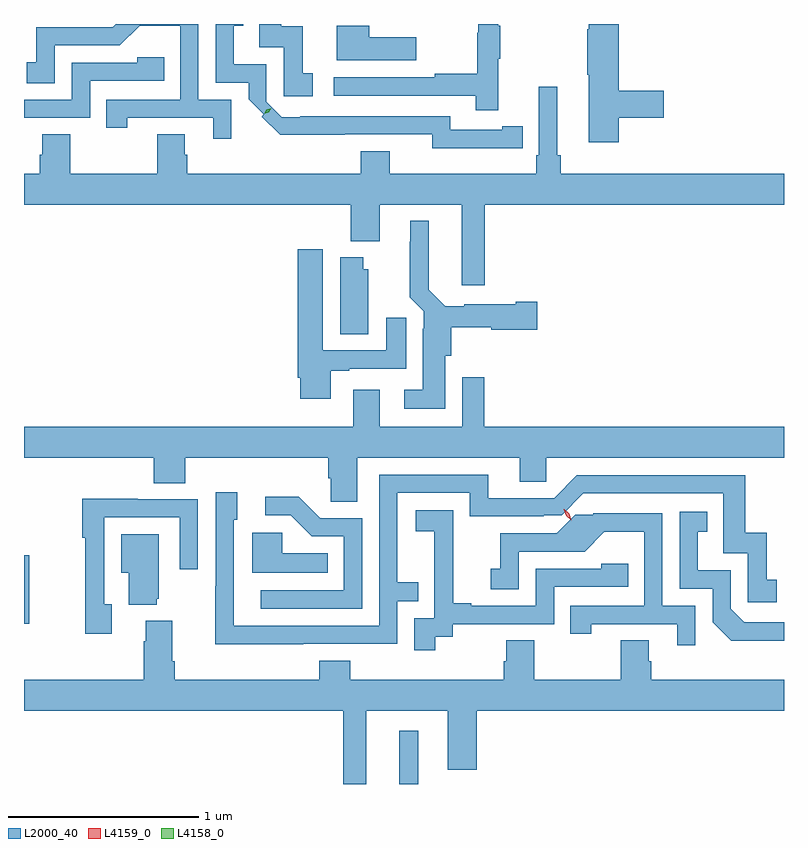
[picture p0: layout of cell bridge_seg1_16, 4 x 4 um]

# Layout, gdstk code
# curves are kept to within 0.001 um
import gdstk
lib = gdstk.Library(unit=1e-6, precision=1e-09)
def R(c, l, rs):  # rectangles x0, y0, x1, y1
    for r in rs: c.add(gdstk.rectangle(r[:2], r[2:], *l))
def P(c, l, *ps):  # polygons
    for p in ps: c.add(gdstk.Polygon(p, *l))
L2000_40 = (2000, 40)
L4158_0 = (4158, 0)
L4159_0 = (4159, 0)

bridge_seg1_16 = lib.new_cell('bridge_seg1_16')
R(bridge_seg1_16, L2000_40, [(880.292,511.387,880.39,511.666), (878.316,512.23,878.344,512.59)])
P(bridge_seg1_16, L2000_40, [(880.811,515.203),(880.822,515.203),(880.822,515.377),(880.811,515.377),(880.811,515.387),(880.708,515.387),(880.708,515.34),(880.701,515.34),(880.701,515.126),(880.477,515.126),(880.477,515.106),(879.945,515.106),(879.945,515.01),(880.693,515.01),(880.693,514.932),(880.811,514.932)],
  [(879.408,514.989),(879.234,514.989),(879.234,515.387),(878.8,515.387),(878.783,515.37),(878.38,515.37),(878.38,515.185),(878.331,515.185),(878.331,515.076),(878.478,515.076),(878.478,515.274),(878.82,515.274),(878.924,515.378),(879.138,515.378),(879.138,514.989),(878.749,514.989),(878.749,514.842),(878.86,514.842),(878.86,514.893),(879.311,514.893),(879.311,514.782),(879.408,514.782)],
  [(880.832,514.734),(880.94,514.734),(880.94,514.85),(880.832,514.85),(880.832,514.83),(880.56,514.83),(880.56,514.902),(879.769,514.902),(879.769,514.896),(879.672,514.896),(879.591,514.977),(879.591,515.175),(879.421,515.175),(879.421,515.379),(879.47,515.379),(879.47,515.387),(879.324,515.387),(879.324,515.079),(879.498,515.079),(879.498,514.991),(879.579,514.911),(879.568,514.9),(879.664,514.805),(880.464,514.806),(880.464,514.733)],
  [(881.447,514.894),(881.683,514.894),(881.683,515.036),(881.447,515.036),(881.447,515.387),(881.288,515.387),(881.288,515.36),(881.281,515.36),(881.281,515.119),(881.288,515.119),(881.288,514.764),(881.447,514.764)],
  [(879.835,515.127),(879.782,515.127),(879.782,515.374),(879.671,515.374),(879.671,515.387),(879.555,515.387),(879.555,515.265),(879.684,515.265),(879.684,515.007),(879.835,515.007)],
  [(880.381,515.317),(880.133,515.317),(880.133,515.377),(879.962,515.377),(879.962,515.195),(880.381,515.195)],
  [(878.664,515.088),(879.053,515.088),(879.053,515.211),(878.913,515.211),(878.913,515.184),(878.568,515.184),(878.568,514.989),(878.316,514.989),(878.316,514.893),(878.664,514.893)],
  [(880.742,514.436),(882.316,514.436),(882.316,514.6),(881.141,514.6),(881.141,514.696),(881.122,514.696),(881.122,515.056),(881.025,515.056),(881.025,514.696),(881.012,514.696),(881.012,514.6),(880.24,514.6),(880.24,514.717),(880.088,514.717),(880.088,514.6),(879.176,514.6),(879.176,514.698),(879.163,514.698),(879.163,514.808),(879.016,514.808),(879.016,514.6),(878.559,514.6),(878.559,514.808),(878.411,514.808),(878.411,514.698),(878.399,514.698),(878.399,514.6),(878.316,514.6),(878.316,514.436),(880.037,514.436),(880.037,514.244),(880.189,514.244),(880.189,514.436),(880.619,514.436),(880.619,514.011),(880.742,514.011)],
  [(880.534,513.642),(880.565,513.642),(880.565,513.791),(880.776,513.791),(880.776,513.779),(881.017,513.779),(881.017,513.926),(880.904,513.926),(880.904,513.913),(880.632,513.913),(880.632,513.901),(880.533,513.901),(880.447,513.988),(880.447,514.351),(880.349,514.351),(880.349,514.241),(880.345,514.241),(880.345,513.95),(880.419,513.876),(880.419,513.782),(880.415,513.782),(880.415,513.463),(880.317,513.463),(880.317,513.362),(880.534,513.362)],
  [(879.931,513.561),(880.027,513.561),(880.027,513.573),(880.327,513.573),(880.327,513.841),(880.223,513.841),(880.223,513.669),(879.889,513.669),(879.889,514.201),(879.758,514.201),(879.758,513.526),(879.77,513.526),(879.77,513.414),(879.931,513.414)],
  [(880.129,514.095),(880.102,514.095),(880.102,514.159),(879.98,514.159),(879.98,513.754),(880.129,513.754)],
  [(880.069,513.104),(880.925,513.104),(880.925,512.977),(881.064,512.977),(881.064,513.104),(882.316,513.104),(882.316,513.268),(880.739,513.268),(880.739,513.529),(880.623,513.529),(880.623,513.268),(880.189,513.268),(880.189,513.463),(880.049,513.463),(880.049,513.268),(878.316,513.268),(878.316,513.104),(878.999,513.104),(878.999,512.971),(879.164,512.971),(879.164,513.104),(879.917,513.104),(879.917,512.995),(879.93,512.995),(879.93,512.872),(880.069,512.872)],
  [(879.785,512.124),(880.281,512.124),(880.281,512.349),(880.391,512.349),(880.391,512.45),(880.281,512.45),(880.281,512.919),(880.662,512.919),(880.662,512.796),(881.051,512.796),(881.051,512.802),(881.146,512.802),(881.26,512.916),(881.997,512.916),(881.997,512.601),(882.126,512.601),(882.126,512.343),(882.277,512.343),(882.277,512.463),(882.224,512.463),(882.224,512.71),(882.113,512.71),(882.113,513.012),(881.226,513.012),(881.106,512.892),(880.759,512.892),(880.759,513.015),(880.185,513.015),(880.185,512.22),(879.421,512.22),(879.42,512.778),(879.439,512.778),(879.439,512.923),(879.324,512.923),(879.324,512.429),(879.322,512.429),(879.322,512.123)],
  [(880.095,512.787),(879.876,512.787),(879.763,512.9),(879.585,512.9),(879.585,512.802),(879.719,512.802),(879.83,512.691),(879.999,512.691),(879.999,512.406),(879.561,512.406),(879.561,512.31),(880.095,512.31)],
  [(878.779,512.334),(878.739,512.334),(878.739,512.79),(879.135,512.79),(879.135,512.517),(879.231,512.517),(879.231,512.886),(878.915,512.886),(878.915,512.888),(878.623,512.888),(878.623,512.683),(878.638,512.683),(878.638,512.178),(878.779,512.178)],
  [(880.48,512.161),(880.572,512.161),(880.572,512.229),(881.106,512.229),(881.106,512.424),(881.495,512.424),(881.495,512.547),(881.355,512.547),(881.355,512.52),(881.01,512.52),(881.01,512.325),(880.669,512.325),(880.669,512.338),(880.574,512.338),(880.574,512.621),(880.575,512.621),(880.575,512.827),(880.377,512.827),(880.377,512.717),(880.475,512.717),(880.475,512.489),(880.476,512.489),(880.476,512.259),(880.371,512.259),(880.371,512.091),(880.48,512.091)],
  [(882.316,512.238),(882.108,512.238),(882.036,512.31),(882.036,512.511),(881.863,512.511),(881.863,512.715),(881.912,512.715),(881.912,512.821),(881.766,512.821),(881.766,512.415),(881.94,512.415),(881.94,512.238),(882.038,512.141),(882.316,512.141)],
  [(881.85,512.325),(881.676,512.325),(881.676,512.811),(881.313,512.811),(881.313,512.805),(881.218,512.805),(881.119,512.706),(880.822,512.706),(880.822,512.521),(880.773,512.521),(880.773,512.412),(880.92,512.412),(880.92,512.61),(881.266,512.61),(881.37,512.714),(881.58,512.714),(881.58,512.325),(881.191,512.325),(881.191,512.178),(881.302,512.178),(881.302,512.229),(881.753,512.229),(881.753,512.118),(881.85,512.118)],
  [(879.914,512.602),(879.675,512.602),(879.675,512.71),(879.518,512.71),(879.518,512.498),(879.914,512.498)],
  [(879.014,512.361),(879.025,512.361),(879.025,512.701),(878.828,512.701),(878.828,512.498),(878.867,512.498),(878.867,512.33),(879.014,512.33)],
  [(881.605,512.034),(881.605,512.144),(881.458,512.144),(881.458,511.936),(881.001,511.936),(881.001,512.144),(880.853,512.144),(880.853,512.034),(880.841,512.034),(880.841,511.936),(880.034,511.936),(880.034,512.035),(879.869,512.035),(879.869,511.936),(879.11,511.936),(879.11,512.032),(879.097,512.032),(879.097,512.245),(878.957,512.245),(878.957,512.138),(878.945,512.138),(878.945,511.936),(878.316,511.936),(878.316,511.772),(879.996,511.772),(879.996,511.387),(880.117,511.387),(880.117,511.772),(880.547,511.772),(880.547,511.463),(880.7,511.463),(880.7,511.772),(882.316,511.772),(882.316,511.936),(881.618,511.936),(881.618,512.034)])
P(bridge_seg1_16, L4158_0, [(879.58,514.914),(879.58,514.915),(879.592,514.937),(879.616,514.944),(879.616,514.944),(879.616,514.944),(879.604,514.922),(879.58,514.914)])
P(bridge_seg1_16, L4159_0, [(881.196,512.774),(881.169,512.798),(881.158,512.833),(881.158,512.833),(881.159,512.833),(881.186,512.809),(881.197,512.774),(881.197,512.774)])

lib.write_gds('bridge_seg1_16.gds')
